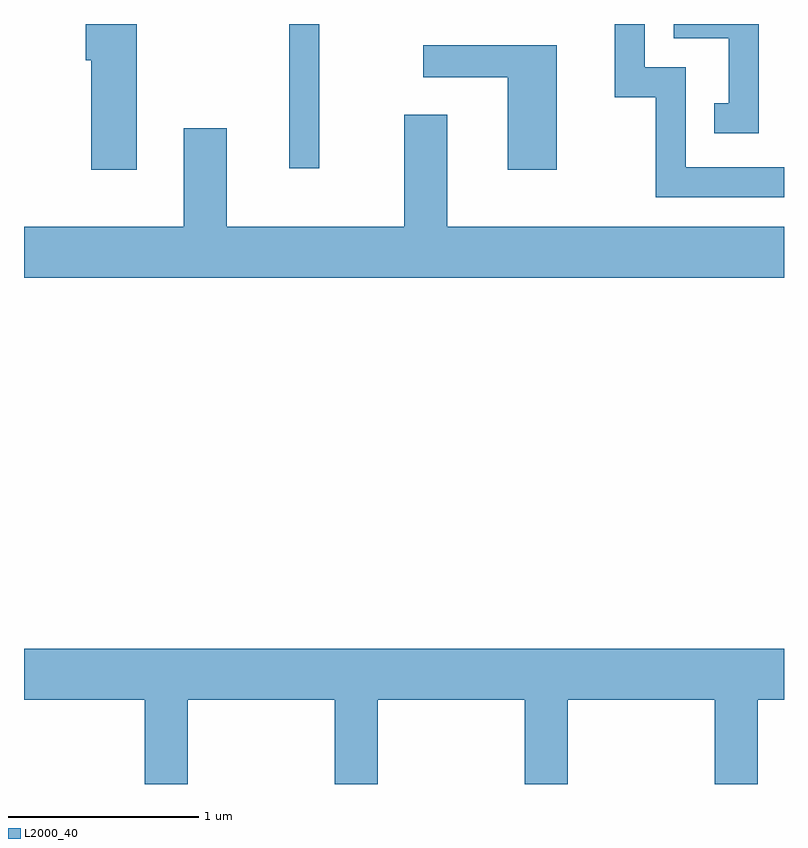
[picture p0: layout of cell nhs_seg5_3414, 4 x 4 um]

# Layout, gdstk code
import gdstk
lib = gdstk.Library(unit=1e-6, precision=1e-09)
def R(c, l, rs):  # rectangles x0, y0, x1, y1
    for r in rs: c.add(gdstk.rectangle(r[:2], r[2:], *l))
def P(c, l, *ps):  # polygons
    for p in ps: c.add(gdstk.Polygon(p, *l))
L2000_40 = (2000, 40)

nhs_seg5_3414 = lib.new_cell('nhs_seg5_3414')
R(nhs_seg5_3414, L2000_40, [(287.006,1517.313,287.164,1518.072)])
P(nhs_seg5_3414, L2000_40, [(289.479,1518.072),(289.031,1518.072),(289.031,1517.996),(289.321,1517.996),(289.321,1517.654),(289.243,1517.654),(289.243,1517.496),(289.479,1517.496)],
  [(286.204,1518.072),(285.936,1518.072),(285.936,1517.881),(285.966,1517.881),(285.966,1517.306),(286.204,1517.306)],
  [(289.611,1517.319),(289.094,1517.319),(289.094,1517.844),(288.879,1517.844),(288.879,1518.072),(288.721,1518.072),(288.721,1517.686),(288.936,1517.686),(288.936,1517.161),(289.611,1517.161)],
  [(288.414,1517.959),(287.713,1517.959),(287.713,1517.791),(288.156,1517.791),(288.156,1517.306),(288.414,1517.306)],
  [(289.611,1517.004),(287.839,1517.004),(287.839,1517.594),(287.611,1517.594),(287.611,1517.004),(286.679,1517.004),(286.679,1517.524),(286.451,1517.524),(286.451,1517.004),(285.611,1517.004),(285.611,1516.736),(289.611,1516.736)],
  [(286.474,1514.516),(287.246,1514.516),(287.246,1514.072),(287.474,1514.072),(287.474,1514.516),(288.246,1514.516),(288.246,1514.072),(288.474,1514.072),(288.474,1514.516),(289.246,1514.516),(289.246,1514.072),(289.474,1514.072),(289.474,1514.516),(289.611,1514.516),(289.611,1514.784),(285.611,1514.784),(285.611,1514.516),(286.246,1514.516),(286.246,1514.072),(286.474,1514.072)])

lib.write_gds('nhs_seg5_3414.gds')
